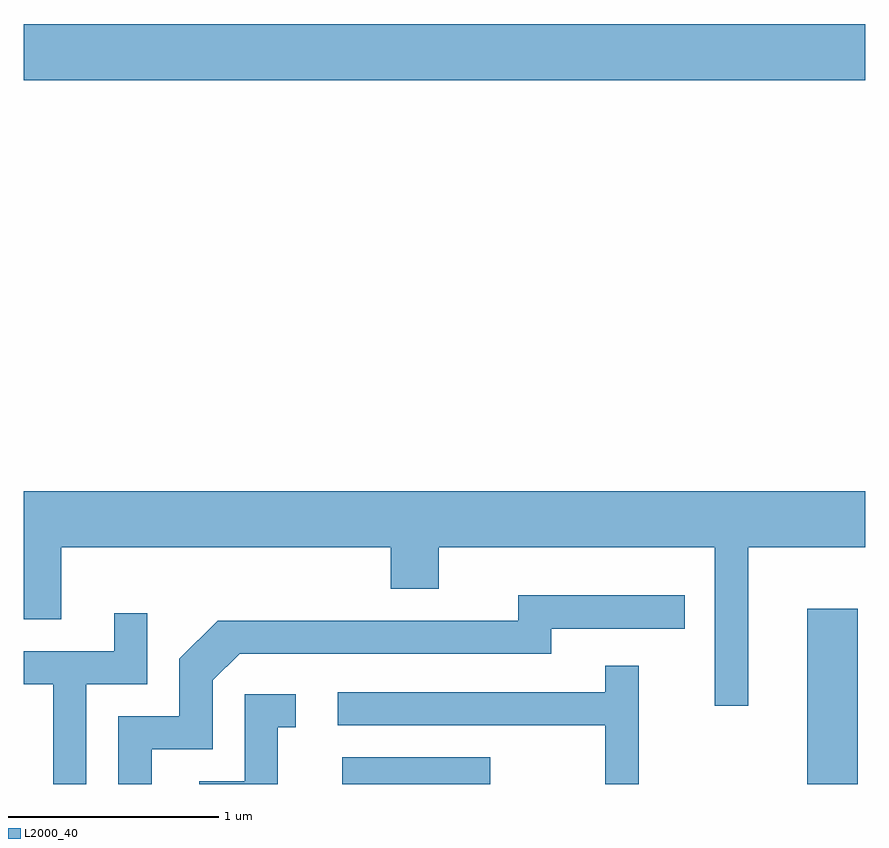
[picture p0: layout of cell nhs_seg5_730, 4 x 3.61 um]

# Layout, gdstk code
import gdstk
lib = gdstk.Library(unit=1e-6, precision=1e-09)
def R(c, l, rs):  # rectangles x0, y0, x1, y1
    for r in rs: c.add(gdstk.rectangle(r[:2], r[2:], *l))
def P(c, l, *ps):  # polygons
    for p in ps: c.add(gdstk.Polygon(p, *l))
L2000_40 = (2000, 40)

nhs_seg5_730 = lib.new_cell('nhs_seg5_730')
R(nhs_seg5_730, L2000_40, [(207.126,1500.072,207.828,1500.199), (209.336,1500.072,209.574,1500.904), (205.611,1503.416,209.611,1503.684)])
P(nhs_seg5_730, L2000_40, [(209.054,1501.196),(209.611,1501.196),(209.611,1501.464),(205.611,1501.464),(205.611,1500.856),(205.789,1500.856),(205.789,1501.196),(207.356,1501.196),(207.356,1501.001),(207.584,1501.001),(207.584,1501.196),(208.896,1501.196),(208.896,1500.443),(209.054,1500.443)],
  [(206.219,1500.236),(206.509,1500.236),(206.509,1500.564),(206.637,1500.691),(208.119,1500.691),(208.119,1500.811),(208.753,1500.811),(208.753,1500.969),(207.961,1500.969),(207.961,1500.849),(206.534,1500.849),(206.351,1500.667),(206.351,1500.394),(206.061,1500.394),(206.061,1500.072),(206.219,1500.072)],
  [(205.909,1500.546),(206.199,1500.546),(206.199,1500.883),(206.041,1500.883),(206.041,1500.704),(205.611,1500.704),(205.611,1500.546),(205.751,1500.546),(205.751,1500.072),(205.909,1500.072)],
  [(208.534,1500.633),(208.376,1500.633),(208.376,1500.509),(207.103,1500.509),(207.103,1500.351),(208.376,1500.351),(208.376,1500.072),(208.534,1500.072)],
  [(206.819,1500.341),(206.903,1500.341),(206.903,1500.499),(206.661,1500.499),(206.661,1500.084),(206.446,1500.084),(206.446,1500.072),(206.819,1500.072)])

lib.write_gds('nhs_seg5_730.gds')
